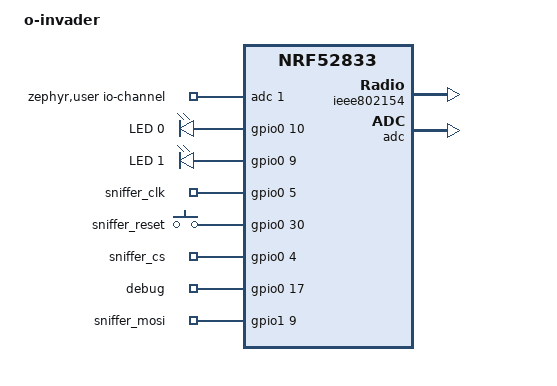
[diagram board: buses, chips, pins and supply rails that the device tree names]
/dts-v1/;
#include <nordic/nrf52833_qdaa.dtsi>

/ {
	model = "o-invader";
	compatible = "matejneumann,o-invader";

    zephyr,user {
        io-channels = <&adc 1>;
    };

	chosen {
		zephyr,sram = &sram0;
		zephyr,flash = &flash0;
		zephyr,code-partition = &slot0_partition;
        zephyr,storage-partition = &storage_partition;
    };

    leds {
        compatible = "gpio-leds";
        led0: led_0 {
            gpios = <&gpio0 10 GPIO_ACTIVE_HIGH>;
            label = "LED 0";
        };
        led1: led_1 {
            gpios = <&gpio0 9 GPIO_ACTIVE_HIGH>;
            label = "LED 1";
        };
    };

    sniffer {
        compatible = "gpio-keys";
        clck0: clck_0 {
            gpios = <&gpio0 5 GPIO_ACTIVE_HIGH>;
            label = "sniffer_clk";
        };

        reset0: reset_0 {
            gpios = <&gpio0 30 GPIO_ACTIVE_HIGH>;
            label = "sniffer_reset";
        };

        cs0: cs_0 {
            gpios = <&gpio0 4 GPIO_ACTIVE_HIGH>;
            label = "sniffer_cs";
        };

        debug0: debug_0 {
            gpios = <&gpio0 17 GPIO_ACTIVE_HIGH>;
            label = "debug";
        };

        mosi0: mosi_0 {
            gpios = <&gpio1 9 GPIO_ACTIVE_HIGH>;
            label = "sniffer_mosi";
        };
    };

    aliases {
        led0 = &led0;
        led1 = &led1;
    };
};

&gpiote {
    status = "okay";
};

&gpio0 {
    status = "okay";
};

&gpio1 {
    status = "okay";
};

&uicr {
    gpio-as-nreset;
};

&ieee802154 {
    status = "okay";
};

&adc {
    status = "okay";
};

&flash0 {
    partitions {
        compatible = "fixed-partitions";
        #address-cells = <1>;
        #size-cells = <1>;

        boot_partition: partition@0 {
            label = "mcuboot";
            reg = <0x00000000 0xC000>;
        };
        slot0_partition: partition@c000 {
            label = "image-0";
            reg = <0x0000C000 0x37000>;
        };
        slot1_partition: partition@43000 {
            label = "image-1";
            reg = <0x00043000 0x37000>;
        };
        storage_partition: partition@7a000 {
            label = "storage";
            reg = <0x0007A000 0x00006000>;
        };
    };
};


